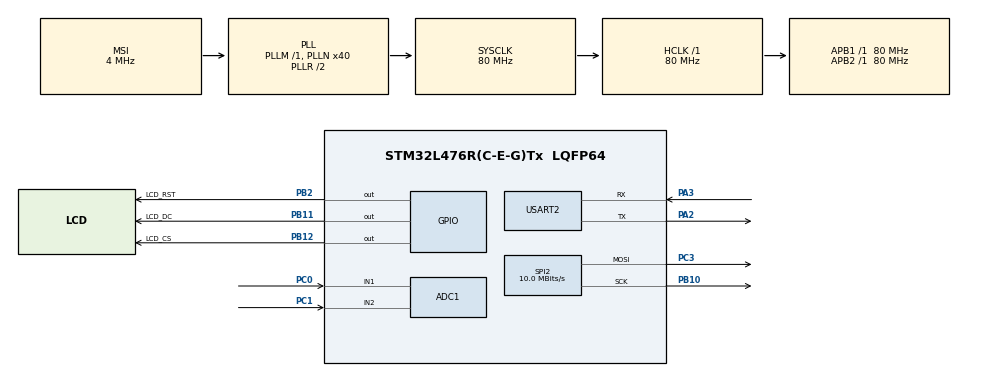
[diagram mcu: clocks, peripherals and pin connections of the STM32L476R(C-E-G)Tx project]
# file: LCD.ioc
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ADC1.Channel-0\#ChannelRegularConversion=ADC_CHANNEL_1
ADC1.Channel-1\#ChannelRegularConversion=ADC_CHANNEL_2
ADC1.ContinuousConvMode=ENABLE
ADC1.DMAContinuousRequests=ENABLE
ADC1.NbrOfConversion=2
ADC1.NbrOfConversionFlag=1
ADC1.OffsetNumber-0\#ChannelRegularConversion=ADC_OFFSET_NONE
ADC1.OffsetNumber-1\#ChannelRegularConversion=ADC_OFFSET_NONE
ADC1.OversamplingMode=ENABLE
ADC1.Rank-0\#ChannelRegularConversion=1
ADC1.Rank-1\#ChannelRegularConversion=2
ADC1.Ratio=ADC_OVERSAMPLING_RATIO_16
ADC1.RightBitShift=ADC_RIGHTBITSHIFT_4
ADC1.SamplingTime-0\#ChannelRegularConversion=ADC_SAMPLETIME_640CYCLES_5
ADC1.SamplingTime-1\#ChannelRegularConversion=ADC_SAMPLETIME_640CYCLES_5
ADC1.master=1
Dma.ADC1.1.Direction=DMA_PERIPH_TO_MEMORY
Dma.ADC1.1.Instance=DMA1_Channel1
Dma.ADC1.1.MemDataAlignment=DMA_MDATAALIGN_HALFWORD
Dma.ADC1.1.MemInc=DMA_MINC_ENABLE
Dma.ADC1.1.Mode=DMA_CIRCULAR
Dma.ADC1.1.PeriphDataAlignment=DMA_PDATAALIGN_HALFWORD
Dma.ADC1.1.PeriphInc=DMA_PINC_DISABLE
Dma.ADC1.1.Priority=DMA_PRIORITY_LOW
Dma.Request0=SPI2_TX
Dma.Request1=ADC1
Dma.SPI2_TX.0.Direction=DMA_MEMORY_TO_PERIPH
Dma.SPI2_TX.0.Instance=DMA1_Channel5
Dma.SPI2_TX.0.MemDataAlignment=DMA_MDATAALIGN_BYTE
Dma.SPI2_TX.0.MemInc=DMA_MINC_ENABLE
Dma.SPI2_TX.0.Mode=DMA_NORMAL
Dma.SPI2_TX.0.PeriphDataAlignment=DMA_PDATAALIGN_BYTE
Dma.SPI2_TX.0.PeriphInc=DMA_PINC_DISABLE
Dma.SPI2_TX.0.Priority=DMA_PRIORITY_LOW
Mcu.Family=STM32L4
Mcu.Name=STM32L476R(C-E-G)Tx
Mcu.Package=LQFP64
NVIC.DMA1_Channel5_IRQn=true\:3\:0\:true\:false\:true\:false\:true\:true
NVIC.PriorityGroup=NVIC_PRIORITYGROUP_4
PA13\ (JTMS-SWDIO).Mode=Serial_Wire
PA13\ (JTMS-SWDIO).Signal=SYS_JTMS-SWDIO
PA14\ (JTCK-SWCLK).Mode=Serial_Wire
PA14\ (JTCK-SWCLK).Signal=SYS_JTCK-SWCLK
PA2.Mode=Asynchronous
PA2.Signal=USART2_TX
PA3.Mode=Asynchronous
PA3.Signal=USART2_RX
PB10.Mode=TX_Only_Simplex_Unidirect_Master
PB10.Signal=SPI2_SCK
PB11.GPIO_Label=LCD_DC
PB11.Signal=GPIO_Output
PB12.GPIO_Label=LCD_CS
PB12.PinState=GPIO_PIN_SET
PB12.Signal=GPIO_Output
PB2.GPIO_Label=LCD_RST
PB2.Signal=GPIO_Output
PC0.Signal=ADCx_IN1
PC1.Signal=ADCx_IN2
PC3.Mode=TX_Only_Simplex_Unidirect_Master
PC3.Signal=SPI2_MOSI
ProjectManager.HeapSize=0x200
ProjectManager.StackSize=0x2000
ProjectManager.TargetToolchain=STM32CubeIDE
RCC.ADCFreq_Value=32000000
RCC.AHBFreq_Value=80000000
RCC.APB1Freq_Value=80000000
RCC.APB1TimFreq_Value=80000000
RCC.APB2Freq_Value=80000000
RCC.APB2TimFreq_Value=80000000
RCC.CortexFreq_Value=80000000
RCC.HCLKFreq_Value=80000000
RCC.HSE_VALUE=8000000
RCC.HSI_VALUE=16000000
RCC.LSE_VALUE=32768
RCC.MSI_VALUE=4000000
RCC.PLLN=40
RCC.PLLSAI1N=16
RCC.SYSCLKFreq_VALUE=80000000
RCC.SYSCLKSource=RCC_SYSCLKSOURCE_PLLCLK
RCC.USBFreq_Value=32000000
RCC.VCOOutputFreq_Value=160000000
SH.ADCx_IN1.0=ADC1_IN1,IN1-Single-Ended
SH.ADCx_IN2.0=ADC1_IN2,IN2-Single-Ended
SPI2.BaudRatePrescaler=SPI_BAUDRATEPRESCALER_8
SPI2.CalculateBaudRate=10.0 MBits/s
SPI2.DataSize=SPI_DATASIZE_8BIT
SPI2.Direction=SPI_DIRECTION_2LINES
SPI2.Mode=SPI_MODE_MASTER
SPI2.NSSPMode=SPI_NSS_PULSE_DISABLE
SPI2.VirtualType=VM_MASTER
USART2.VirtualMode-Asynchronous=VM_ASYNC
board=custom

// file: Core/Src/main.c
/* USER CODE BEGIN Header */
/**
  ******************************************************************************
  * @file           : main.c
  * @brief          : Main program body
  ******************************************************************************
  * @attention
  *
  * Copyright (c) 2023 STMicroelectronics.
  * All rights reserved.
  *
  * This software is licensed under terms that can be found in the LICENSE file
  * in the root directory of this software component.
  * If no LICENSE file comes with this software, it is provided AS-IS.
  *
  ******************************************************************************
  */
/* USER CODE END Header */
#include "main.h"
#include "adc.h"
#include "dma.h"
#include "spi.h"
#include "usart.h"
#include "gpio.h"

/* USER CODE BEGIN Includes */
#include "hagl.h"
#include "font6x9.h"
#include "rgb565.h"
#include "hagl_hal.h"
#include <stdio.h>

/* USER CODE END Includes */

/* USER CODE BEGIN PD */
#define PHOTO 41
#define START_X 20

#define RADIUS 3
/* USER CODE END PD */

void SystemClock_Config(void);

/* USER CODE BEGIN 0 */
int __io_putchar(int ch)
{
  if (ch == '\n') {
    __io_putchar('\r');
  }

  HAL_UART_Transmit(&huart2, (uint8_t*)&ch, 1, HAL_MAX_DELAY);

  return 1;
}

void HAL_SPI_TxCpltCallback(SPI_HandleTypeDef *hspi){
	if(hspi==&hspi2){
		lcd_transfer_done();
	}
}

//	PHOTORESISTOR MEASURE FUNCS
/*
void measure_photoresistor(uint16_t* buffer){
	HAL_ADCEx_Calibration_Start(&hadc1, ADC_SINGLE_ENDED);
	HAL_ADC_Start_DMA(&hadc1, (uint32_t*)buffer, 1);
}

uint16_t calc_progress_bar(uint16_t* buffer){
	uint16_t length = buffer[0] / PHOTO;
	length = 100 - length;
	length = START_X + length;
	return length;
}

void init_progress_bar(void){
	hagl_fill_rectangle(0, 0, DISPLAY_WIDTH, DISPLAY_HEIGHT, BLACK);
	hagl_fill_rectangle(START_X, 50, DISPLAY_WIDTH-START_X, 70, BLUE);
}

void draw_progress_bar(uint16_t bar_length){
	hagl_fill_rectangle(START_X, 50, bar_length, 70, WHITE);
}

*/

//	BALL MOVING FUNCS
void measure_potentiometers(uint16_t* buffer){
	HAL_ADCEx_Calibration_Start(&hadc1, ADC_SINGLE_ENDED);
	HAL_ADC_Start_DMA(&hadc1, (uint32_t*)buffer, 2);
}

uint16_t* calc_ball_position(uint16_t* buffer){
	uint16_t buf[2] = {buffer[0], buffer[1]};
	static uint16_t position[2] = {0};

	if(buf[0]/26>=LCD_WIDTH-RADIUS-1){
		position[0] = LCD_WIDTH-RADIUS-1;
	}
	else if(buf[0]<=99){
		position[0] = RADIUS;
	}
	else{
		position[0] = buf[0] / 26;
	}

	if(buf[1]/32>=LCD_HEIGHT-RADIUS-1){
		position[1] = LCD_HEIGHT-RADIUS-1;
	}
	else if(buf[1]<=90){
		position[1] = RADIUS;
	}
	else{
		position[1] = buf[1] / 32;
	}
	return position;
}

void draw_ball_scene(uint16_t* position){
	hagl_fill_rectangle(0, 0, DISPLAY_WIDTH, DISPLAY_HEIGHT, BLACK);
	hagl_fill_circle(position[0], position[1], RADIUS, WHITE);
}

/* USER CODE END 0 */

int main(void)
{

  /* MCU Configuration--------------------------------------------------------*/

  /* Reset of all peripherals, Initializes the Flash interface and the Systick. */
  HAL_Init();

  /* Configure the system clock */
  SystemClock_Config();

  /* Initialize all configured peripherals */
  MX_GPIO_Init();
  MX_DMA_Init();
  MX_SPI2_Init();
  MX_USART2_UART_Init();
  MX_ADC1_Init();

  /* Infinite loop */
  /* USER CODE BEGIN WHILE */

//	BUFFER
  uint16_t value[2] = {0};

/*
 //ADC (PHOTORESISTOR)
  measure_photoresistor(value);
  uint16_t length = 0;
*/

  lcd_init();

  //static uint16_t ball_pos[2] = {0};

  while (1)
  {

//	START PHOTORESISTOR
/*
	  init_progress_bar();
	  length = calc_progress_bar(value);
	  draw_progress_bar(length);
	  lcd_copy();
*/

//	START BALL MOVING
	  measure_potentiometers(value);
	  uint16_t* ball_position = calc_ball_position(value);
	  draw_ball_scene(ball_position);
	  lcd_copy();

    /* USER CODE END WHILE */

  }
}

void SystemClock_Config(void)
{
  RCC_OscInitTypeDef RCC_OscInitStruct = {0};
  RCC_ClkInitTypeDef RCC_ClkInitStruct = {0};

  /** Configure the main internal regulator output voltage
  */
  if (HAL_PWREx_ControlVoltageScaling(PWR_REGULATOR_VOLTAGE_SCALE1) != HAL_OK)
  {
    Error_Handler();
  }

  /** Initializes the RCC Oscillators according to the specified parameters
  * in the RCC_OscInitTypeDef structure.
  */
  RCC_OscInitStruct.OscillatorType = RCC_OSCILLATORTYPE_MSI;
  RCC_OscInitStruct.MSIState = RCC_MSI_ON;
  RCC_OscInitStruct.MSICalibrationValue = 0;
  RCC_OscInitStruct.MSIClockRange = RCC_MSIRANGE_6;
  RCC_OscInitStruct.PLL.PLLState = RCC_PLL_ON;
  RCC_OscInitStruct.PLL.PLLSource = RCC_PLLSOURCE_MSI;
  RCC_OscInitStruct.PLL.PLLM = 1;
  RCC_OscInitStruct.PLL.PLLN = 40;
  RCC_OscInitStruct.PLL.PLLP = RCC_PLLP_DIV7;
  RCC_OscInitStruct.PLL.PLLQ = RCC_PLLQ_DIV2;
  RCC_OscInitStruct.PLL.PLLR = RCC_PLLR_DIV2;
  if (HAL_RCC_OscConfig(&RCC_OscInitStruct) != HAL_OK)
  {
    Error_Handler();
  }

  /** Initializes the CPU, AHB and APB buses clocks
  */
  RCC_ClkInitStruct.ClockType = RCC_CLOCKTYPE_HCLK|RCC_CLOCKTYPE_SYSCLK
                              |RCC_CLOCKTYPE_PCLK1|RCC_CLOCKTYPE_PCLK2;
  RCC_ClkInitStruct.SYSCLKSource = RCC_SYSCLKSOURCE_PLLCLK;
  RCC_ClkInitStruct.AHBCLKDivider = RCC_SYSCLK_DIV1;
  RCC_ClkInitStruct.APB1CLKDivider = RCC_HCLK_DIV1;
  RCC_ClkInitStruct.APB2CLKDivider = RCC_HCLK_DIV1;

  if (HAL_RCC_ClockConfig(&RCC_ClkInitStruct, FLASH_LATENCY_4) != HAL_OK)
  {
    Error_Handler();
  }
}

void Error_Handler(void)
{
  __disable_irq();
  while (1)
  {
  }
}
